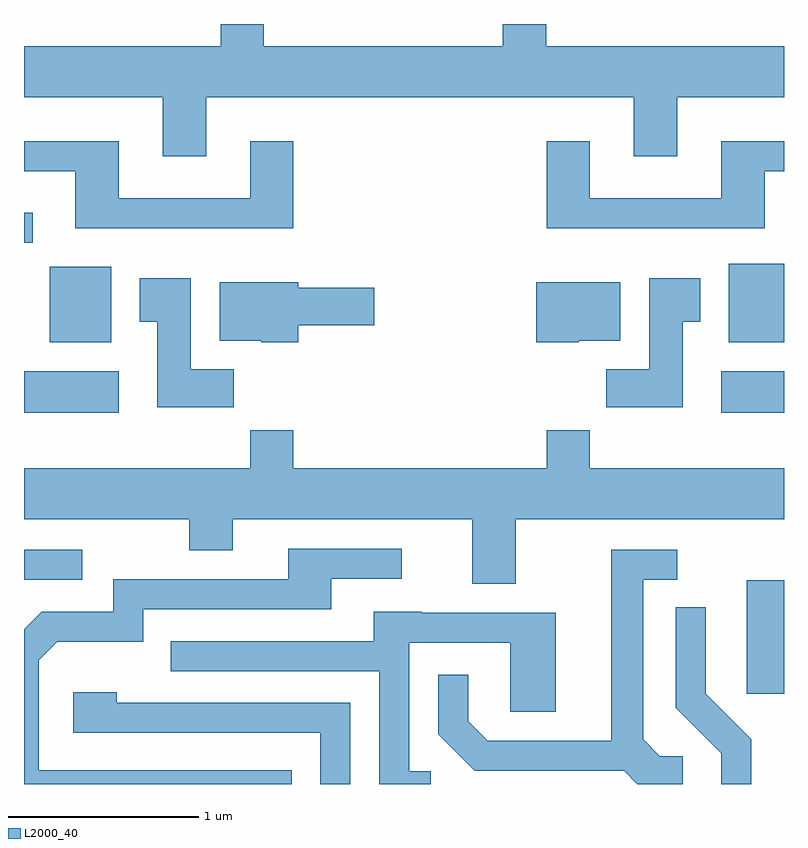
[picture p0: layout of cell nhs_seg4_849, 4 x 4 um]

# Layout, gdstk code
import gdstk
lib = gdstk.Library(unit=1e-6, precision=1e-09)
def R(c, l, rs):  # rectangles x0, y0, x1, y1
    for r in rs: c.add(gdstk.rectangle(r[:2], r[2:], *l))
def P(c, l, *ps):  # polygons
    for p in ps: c.add(gdstk.Polygon(p, *l))
L2000_40 = (2000, 40)

nhs_seg4_849 = lib.new_cell('nhs_seg4_849')
R(nhs_seg4_849, L2000_40, [(213.416,1320.456,213.611,1321.054), (209.611,1321.056,209.918,1321.214), (209.611,1321.936,210.109,1322.154), (213.281,1321.936,213.611,1322.154), (209.746,1322.306,210.069,1322.704), (213.321,1322.306,213.611,1322.719), (209.611,1322.831,209.658,1322.989)])
P(nhs_seg4_849, L2000_40, [(210.569,1323.596),(212.821,1323.596),(212.821,1323.286),(213.049,1323.286),(213.049,1323.596),(213.611,1323.596),(213.611,1323.864),(212.359,1323.864),(212.359,1323.982),(212.131,1323.982),(212.131,1323.864),(210.874,1323.864),(210.874,1323.982),(210.646,1323.982),(210.646,1323.864),(209.611,1323.864),(209.611,1323.596),(210.341,1323.596),(210.341,1323.286),(210.569,1323.286)],
  [(211.029,1323.364),(210.801,1323.364),(210.801,1323.064),(210.109,1323.064),(210.109,1323.364),(209.611,1323.364),(209.611,1323.206),(209.881,1323.206),(209.881,1322.906),(211.029,1322.906)],
  [(213.509,1323.206),(213.611,1323.206),(213.611,1323.364),(213.281,1323.364),(213.281,1323.064),(212.589,1323.064),(212.589,1323.364),(212.361,1323.364),(212.361,1322.906),(213.509,1322.906)],
  [(210.714,1322.164),(210.489,1322.164),(210.489,1322.644),(210.221,1322.644),(210.221,1322.416),(210.311,1322.416),(210.311,1321.966),(210.714,1321.966)],
  [(213.079,1322.416),(213.169,1322.416),(213.169,1322.644),(212.901,1322.644),(212.901,1322.164),(212.676,1322.164),(212.676,1321.966),(213.079,1321.966)],
  [(211.054,1322.396),(211.454,1322.396),(211.454,1322.594),(211.054,1322.594),(211.054,1322.624),(210.641,1322.624),(210.641,1322.316),(210.86,1322.316),(210.86,1322.306),(211.054,1322.306)],
  [(212.53,1322.316),(212.749,1322.316),(212.749,1322.624),(212.306,1322.624),(212.306,1322.306),(212.53,1322.306)],
  [(212.199,1321.376),(213.611,1321.376),(213.611,1321.644),(212.589,1321.644),(212.589,1321.844),(212.361,1321.844),(212.361,1321.644),(211.029,1321.644),(211.029,1321.844),(210.801,1321.844),(210.801,1321.644),(209.611,1321.644),(209.611,1321.376),(210.481,1321.376),(210.481,1321.211),(210.709,1321.211),(210.709,1321.376),(211.971,1321.376),(211.971,1321.036),(212.199,1321.036)],
  [(211.019,1320.054),(209.689,1320.054),(209.689,1320.634),(209.787,1320.731),(210.239,1320.731),(210.239,1320.901),(211.229,1320.901),(211.229,1321.061),(211.598,1321.061),(211.598,1321.219),(211.001,1321.219),(211.001,1321.059),(210.081,1321.059),(210.081,1320.889),(209.704,1320.889),(209.611,1320.797),(209.611,1319.982),(211.019,1319.982)],
  [(213.078,1320.129),(212.957,1320.129),(212.869,1320.217),(212.869,1321.056),(213.048,1321.056),(213.048,1321.214),(212.701,1321.214),(212.701,1320.209),(212.052,1320.209),(211.949,1320.312),(211.949,1320.558),(211.791,1320.558),(211.791,1320.244),(211.984,1320.051),(212.769,1320.051),(212.838,1319.982),(213.078,1319.982)],
  [(213.439,1320.217),(213.199,1320.457),(213.199,1320.913),(213.041,1320.913),(213.041,1320.384),(213.281,1320.144),(213.281,1319.982),(213.439,1319.982)],
  [(211.753,1320.049),(211.639,1320.049),(211.639,1320.726),(212.171,1320.726),(212.171,1320.361),(212.409,1320.361),(212.409,1320.884),(211.705,1320.884),(211.705,1320.889),(211.451,1320.889),(211.451,1320.734),(210.383,1320.734),(210.383,1320.576),(211.481,1320.576),(211.481,1319.982),(211.753,1319.982)],
  [(211.329,1320.409),(210.099,1320.409),(210.099,1320.464),(209.871,1320.464),(209.871,1320.251),(211.171,1320.251),(211.171,1319.982),(211.329,1319.982)])

lib.write_gds('nhs_seg4_849.gds')
